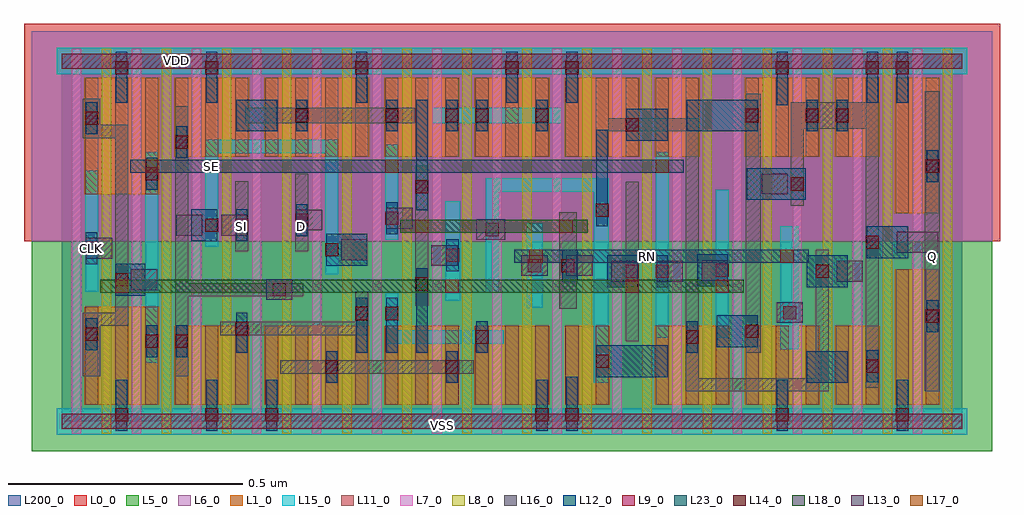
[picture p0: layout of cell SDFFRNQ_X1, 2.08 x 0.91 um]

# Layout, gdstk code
import gdstk
lib = gdstk.Library(unit=1e-6, precision=1e-09)
def R(c, l, rs):  # rectangles x0, y0, x1, y1
    for r in rs: c.add(gdstk.rectangle(r[:2], r[2:], *l))
def A(c, l, x, y, w, h, nx, ny, dx, dy):  # array of equal rectangles
    R(c, l, [(x+i*dx, y+j*dy, x+i*dx+w, y+j*dy+h) for i in range(nx) for j in range(ny)])
def P(c, l, *ps):  # polygons
    for p in ps: c.add(gdstk.Polygon(p, *l))
L0_0 = (0, 0)
L1_0 = (1, 0)
L5_0 = (5, 0)
L6_0 = (6, 0)
L7_0 = (7, 0)
L8_0 = (8, 0)
L9_0 = (9, 0)
L11_0 = (11, 0)
L12_0 = (12, 0)
L13_0 = (13, 0)
L14_0 = (14, 0)
L15_0 = (15, 0)
L16_0 = (16, 0)
L17_0 = (17, 0)
L18_0 = (18, 0)
L23_0 = (23, 0)
L200_0 = (200, 0)

sdffrnq_x1 = lib.new_cell('SDFFRNQ_X1')
R(sdffrnq_x1, L0_0, [(-0.08,0.384,2,0.848)])
A(sdffrnq_x1, L1_0, 0.688, 0.564, 0.16, 0.168, 3, 1, 0.192, 0)
R(sdffrnq_x1, L1_0, [(0.048,0.036,0.208,0.244), (0.24,0.036,0.4,0.204), (0.432,0.036,0.656,0.204), (0.688,0.036,0.848,0.204), (0.88,0.036,1.04,0.204), (1.072,0.036,1.168,0.204), (1.264,0.036,1.424,0.204), (1.456,0.036,1.616,0.204), (1.648,0.036,1.744,0.204), (1.776,0.036,1.872,0.324), (1.776,0.444,1.872,0.732), (0.048,0.484,0.208,0.732), (0.24,0.564,0.4,0.732), (0.432,0.564,0.656,0.732), (1.264,0.564,1.36,0.732), (1.456,0.564,1.616,0.732), (1.648,0.564,1.744,0.732)])
R(sdffrnq_x1, L5_0, [(-0.064,-0.064,1.984,0.384)])
R(sdffrnq_x1, L6_0, [(-0.064,0.384,1.984,0.832)])
A(sdffrnq_x1, L7_0, 0.022, -0.026, 0.02, 0.82, 15, 1, 0.128, 0)
A(sdffrnq_x1, L8_0, 0.086, -0.026, 0.02, 0.82, 15, 1, 0.128, 0)
R(sdffrnq_x1, L9_0, [(0,-0.016,1.92,0.016), (0,0.752,1.92,0.784)])
A(sdffrnq_x1, L11_0, 0.05, 0.036, 0.028, 0.208, 3, 1, 0.064, 0)
A(sdffrnq_x1, L11_0, 0.242, 0.036, 0.028, 0.168, 15, 1, 0.064, 0)
A(sdffrnq_x1, L11_0, 1.266, 0.036, 0.028, 0.168, 8, 1, 0.064, 0)
A(sdffrnq_x1, L11_0, 0.05, 0.484, 0.028, 0.248, 3, 1, 0.064, 0)
A(sdffrnq_x1, L11_0, 0.242, 0.564, 0.028, 0.168, 18, 1, 0.064, 0)
A(sdffrnq_x1, L11_0, 1.458, 0.564, 0.028, 0.168, 5, 1, 0.064, 0)
R(sdffrnq_x1, L11_0, [(1.778,0.036,1.806,0.324), (1.842,0.036,1.87,0.324), (1.778,0.444,1.806,0.732), (1.842,0.444,1.87,0.732)])
A(sdffrnq_x1, L12_0, 0.308, 0.679, 0.024, 0.109, 3, 1, 0.32, 0)
R(sdffrnq_x1, L12_0, [(0.116,-0.02,0.14,0.089), (0.308,-0.02,0.332,0.089), (0.436,-0.02,0.46,0.089), (1.012,-0.02,1.036,0.089), (1.076,-0.02,1.1,0.095), (1.524,-0.02,1.548,0.089), (1.78,-0.02,1.804,0.089), (0.564,0.082,0.588,0.15), (0.82,0.082,0.844,0.15), (1.588,0.082,1.676,0.15), (1.716,0.084,1.74,0.152), (1.14,0.094,1.292,0.162), (0.18,0.137,0.204,0.205), (0.244,0.137,0.268,0.205), (0.372,0.146,0.396,0.232), (0.628,0.146,0.652,0.264), (0.692,0.146,0.716,0.264), (0.756,0.146,0.78,0.327), (0.884,0.146,0.908,0.214), (1.332,0.146,1.356,0.214), (0.052,0.152,0.076,0.22), (1.396,0.158,1.484,0.226), (1.844,0.19,1.868,0.258), (0.116,0.268,0.178,0.336), (1.163,0.286,1.228,0.354), (1.268,0.286,1.292,0.354), (1.588,0.286,1.676,0.354), (1.355,0.288,1.42,0.356), (1.067,0.298,1.1,0.366), (0.82,0.32,0.846,0.388), (0.564,0.332,0.652,0.4), (0.052,0.335,0.076,0.403), (1.716,0.348,1.804,0.416), (0.276,0.384,0.332,0.452), (0.372,0.384,0.396,0.452), (0.5,0.395,0.524,0.463), (0.692,0.399,0.716,0.467), (1.14,0.416,1.164,0.622), (0.756,0.45,0.78,0.686), (1.46,0.472,1.586,0.54), (0.18,0.494,0.204,0.562), (1.844,0.51,1.868,0.578), (0.244,0.561,0.268,0.629), (1.204,0.598,1.292,0.666), (0.052,0.612,0.076,0.68), (0.372,0.618,0.46,0.686), (0.5,0.618,0.524,0.686), (0.692,0.618,0.716,0.686), (0.82,0.618,0.844,0.686), (0.884,0.618,0.908,0.686), (1.012,0.618,1.036,0.686), (1.332,0.618,1.484,0.686), (1.588,0.618,1.612,0.686), (1.652,0.618,1.676,0.686), (1.524,0.674,1.548,0.788), (0.116,0.679,0.14,0.788), (1.076,0.679,1.1,0.788), (1.716,0.679,1.74,0.788), (1.78,0.679,1.804,0.788)])
R(sdffrnq_x1, L13_0, [(1.524,0.21,1.58,0.254), (0.436,0.259,0.492,0.303), (0.148,0.28,0.204,0.324), (1.172,0.298,1.228,0.342), (1.268,0.298,1.324,0.342), (1.652,0.298,1.708,0.342), (1.364,0.3,1.42,0.344), (0.98,0.31,1.036,0.354), (1.076,0.31,1.132,0.354), (0.788,0.332,0.844,0.376), (0.596,0.344,0.652,0.388), (0.052,0.347,0.108,0.391), (1.78,0.36,1.868,0.404), (0.884,0.387,0.946,0.431), (0.244,0.396,0.3,0.44), (0.34,0.396,0.396,0.44), (0.5,0.407,0.556,0.451), (0.692,0.411,0.748,0.455), (1.492,0.484,1.548,0.528)])
A(sdffrnq_x1, L14_0, 0.306, 0.74, 0.028, 0.028, 3, 1, 0.32, 0)
R(sdffrnq_x1, L14_0, [(0.114,0,0.142,0.028), (0.306,0,0.334,0.028), (0.434,0,0.462,0.028), (1.01,0,1.038,0.028), (1.074,0,1.102,0.028), (1.522,0,1.55,0.028), (1.778,0,1.806,0.028), (0.562,0.102,0.59,0.13), (0.818,0.102,0.846,0.13), (1.714,0.104,1.742,0.132), (1.138,0.114,1.166,0.142), (0.178,0.157,0.206,0.185), (0.242,0.157,0.27,0.185), (0.882,0.166,0.91,0.194), (1.33,0.166,1.358,0.194), (0.05,0.172,0.078,0.2), (1.458,0.178,1.486,0.206), (0.37,0.184,0.398,0.212), (1.842,0.21,1.87,0.238), (0.626,0.216,0.654,0.244), (0.69,0.216,0.718,0.244), (1.538,0.218,1.566,0.246), (0.45,0.267,0.478,0.295), (0.754,0.279,0.782,0.307), (0.114,0.288,0.142,0.316), (1.202,0.306,1.23,0.334), (1.266,0.306,1.294,0.334), (1.607,0.306,1.635,0.334), (1.394,0.308,1.422,0.336), (0.994,0.318,1.022,0.346), (1.065,0.318,1.093,0.346), (0.82,0.34,0.848,0.368), (0.562,0.352,0.59,0.38), (0.05,0.355,0.078,0.383), (1.714,0.368,1.742,0.396), (0.904,0.395,0.932,0.423), (0.306,0.404,0.334,0.432), (0.37,0.404,0.398,0.432), (0.498,0.415,0.526,0.443), (0.69,0.419,0.718,0.447), (1.138,0.436,1.166,0.464), (0.754,0.486,0.782,0.514), (1.554,0.492,1.582,0.52), (0.178,0.514,0.206,0.542), (1.842,0.53,1.87,0.558), (0.242,0.581,0.27,0.609), (1.202,0.618,1.23,0.646), (0.05,0.632,0.078,0.66), (0.498,0.638,0.526,0.666), (0.69,0.638,0.718,0.666), (0.818,0.638,0.846,0.666), (0.882,0.638,0.91,0.666), (1.01,0.638,1.038,0.666), (1.458,0.638,1.486,0.666), (1.586,0.638,1.614,0.666), (1.65,0.638,1.678,0.666), (0.114,0.74,0.142,0.768), (1.074,0.74,1.102,0.768), (1.522,0.74,1.55,0.768), (1.714,0.74,1.742,0.768), (1.778,0.74,1.806,0.768)])
R(sdffrnq_x1, L15_0, [(-0.01,-0.028,1.93,0.028), (0.178,0.125,0.206,0.574), (1.532,0.154,1.571,0.416), (1.266,0.178,1.294,0.574), (1.394,0.178,1.422,0.494), (0.991,0.242,1.025,0.422), (0.818,0.257,0.85,0.469), (0.05,0.276,0.078,0.534), (0.69,0.387,0.718,0.59), (0.79,0.636,1.066,0.668), (-0.01,0.74,1.93,0.796)])
P(sdffrnq_x1, L15_0, [(0.306,0.372),(0.334,0.372),(0.334,0.572),(0.562,0.572),(0.562,0.314),(0.59,0.314),(0.59,0.6),(0.306,0.6)],
  [(0.69,0.166),(0.942,0.166),(0.942,0.194),(0.718,0.194),(0.718,0.276),(0.69,0.276)],
  [(0.904,0.274),(0.932,0.274),(0.932,0.49),(1.134,0.49),(1.134,0.082),(1.166,0.082),(1.166,0.518),(0.904,0.518)])
R(sdffrnq_x1, L16_0, [(1.84,0.064,1.872,0.704), (0.466,0.102,0.878,0.13), (1.458,0.146,1.49,0.698), (1.202,0.171,1.23,0.511), (1.061,0.24,1.098,0.446), (0.754,0.247,0.782,0.546), (0.37,0.363,0.398,0.512), (0.498,0.363,0.526,0.528), (0.392,0.636,0.754,0.668)])
P(sdffrnq_x1, L16_0, [(0.045,0.604),(0.114,0.604),(0.114,0.232),(0.045,0.232),(0.045,0.096),(0.083,0.096),(0.083,0.204),(0.142,0.204),(0.142,0.632),(0.083,0.632),(0.083,0.688),(0.045,0.688)],
  [(0.242,0.096),(0.27,0.096),(0.27,0.267),(0.515,0.267),(0.515,0.295),(0.27,0.295),(0.27,0.672),(0.242,0.672)],
  [(0.338,0.184),(0.654,0.184),(0.654,0.276),(0.626,0.276),(0.626,0.212),(0.338,0.212)],
  [(1.165,0.618),(1.33,0.618),(1.33,0.064),(1.635,0.064),(1.635,0.366),(1.607,0.366),(1.607,0.092),(1.358,0.092),(1.358,0.646),(1.165,0.646)],
  [(1.554,0.46),(1.582,0.46),(1.582,0.624),(1.714,0.624),(1.714,0.072),(1.742,0.072),(1.742,0.68),(1.554,0.68)])
R(sdffrnq_x1, L17_0, [(0.114,0.274,0.142,0.302), (0.818,0.274,0.846,0.302), (1.202,0.274,1.23,0.302), (1.394,0.274,1.422,0.302), (0.997,0.338,1.025,0.366), (1.532,0.338,1.56,0.366), (0.754,0.402,0.782,0.43), (1.061,0.402,1.089,0.43), (0.178,0.53,0.206,0.558), (0.69,0.53,0.718,0.558), (1.266,0.53,1.294,0.558)])
R(sdffrnq_x1, L18_0, [(0.082,0.274,1.454,0.302), (0.722,0.402,1.121,0.43)])
R(sdffrnq_x1, L23_0, [(0.965,0.338,1.592,0.366), (0.146,0.53,1.326,0.558)])
R(sdffrnq_x1, L200_0, [(0,0,1.92,0.768)])
sdffrnq_x1.add(gdstk.Label('VSS', (0.812,-0.009), layer=15, texttype=20))
sdffrnq_x1.add(gdstk.Label('CLK', (0.064,0.368), layer=15, texttype=20))
sdffrnq_x1.add(gdstk.Label('SE', (0.32,0.544), layer=15, texttype=20))
sdffrnq_x1.add(gdstk.Label('VDD', (0.246,0.769), layer=15, texttype=20))
sdffrnq_x1.add(gdstk.Label('Q', (1.856,0.352), layer=16, texttype=20))
sdffrnq_x1.add(gdstk.Label('SI', (0.384,0.416), layer=16, texttype=20))
sdffrnq_x1.add(gdstk.Label('D', (0.512,0.416), layer=16, texttype=20))
sdffrnq_x1.add(gdstk.Label('RN', (1.248,0.352), layer=23, texttype=20))

lib.write_gds('SDFFRNQ_X1.gds')
